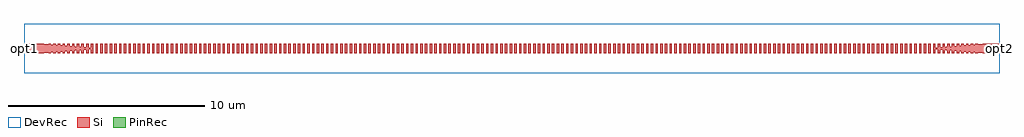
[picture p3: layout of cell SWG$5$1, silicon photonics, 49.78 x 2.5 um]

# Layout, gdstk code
import gdstk
lib = gdstk.Library(unit=1e-6, precision=1e-09)
def R(c, l, rs):  # rectangles x0, y0, x1, y1
    for r in rs: c.add(gdstk.rectangle(r[:2], r[2:], *l))
def P(c, l, *ps):  # polygons
    for p in ps: c.add(gdstk.Polygon(p, *l))
Si = (1, 0)
PinRec = (1, 10)
DevRec = (68, 0)

n2_grating_26_1_1 = lib.new_cell('n2$grating$26$1$1')
R(n2_grating_26_1_1, Si, [(8.64,-0.25,8.76,0.25)])

n2_grating_10_1_1 = lib.new_cell('n2$grating$10$1$1')
R(n2_grating_10_1_1, Si, [(4.8,-0.25,4.92,0.25)])

n1_grating_4_1_1 = lib.new_cell('n1$grating$4$1$1')
R(n1_grating_4_1_1, Si, [(0.96,-0.25,1.08,0.25)])

n2_grating_76_1_1 = lib.new_cell('n2$grating$76$1$1')
R(n2_grating_76_1_1, Si, [(20.64,-0.25,20.76,0.25)])

n2_grating_60_1_1 = lib.new_cell('n2$grating$60$1$1')
R(n2_grating_60_1_1, Si, [(16.8,-0.25,16.92,0.25)])

n2_grating_25_1_1 = lib.new_cell('n2$grating$25$1$1')
R(n2_grating_25_1_1, Si, [(8.4,-0.25,8.52,0.25)])

n2_grating_9_1_1 = lib.new_cell('n2$grating$9$1$1')
R(n2_grating_9_1_1, Si, [(4.56,-0.25,4.68,0.25)])

n1_grating_3_1_1 = lib.new_cell('n1$grating$3$1$1')
R(n1_grating_3_1_1, Si, [(0.72,-0.25,0.84,0.25)])

n2_grating_59_1_1 = lib.new_cell('n2$grating$59$1$1')
R(n2_grating_59_1_1, Si, [(16.56,-0.25,16.68,0.25)])

n2_grating_75_1_1 = lib.new_cell('n2$grating$75$1$1')
R(n2_grating_75_1_1, Si, [(20.4,-0.25,20.52,0.25)])

n2_grating_52_1_1 = lib.new_cell('n2$grating$52$1$1')
R(n2_grating_52_1_1, Si, [(14.88,-0.25,15,0.25)])

n2_grating_144_2 = lib.new_cell('n2$grating$144$2')
R(n2_grating_144_2, Si, [(36.96,-0.25,37.08,0.25)])

n2_grating_138_2 = lib.new_cell('n2$grating$138$2')
R(n2_grating_138_2, Si, [(35.52,-0.25,35.64,0.25)])

n2_grating_160_2 = lib.new_cell('n2$grating$160$2')
R(n2_grating_160_2, Si, [(40.8,-0.25,40.92,0.25)])

n2_grating_176_2 = lib.new_cell('n2$grating$176$2')
R(n2_grating_176_2, Si, [(44.64,-0.25,44.76,0.25)])

n2_grating_90_1_1 = lib.new_cell('n2$grating$90$1$1')
R(n2_grating_90_1_1, Si, [(24,-0.25,24.12,0.25)])

n2_grating_106_1_1 = lib.new_cell('n2$grating$106$1$1')
R(n2_grating_106_1_1, Si, [(27.84,-0.25,27.96,0.25)])

n2_grating_122_2 = lib.new_cell('n2$grating$122$2')
R(n2_grating_122_2, Si, [(31.68,-0.25,31.8,0.25)])

n2_grating_13_1_1 = lib.new_cell('n2$grating$13$1$1')
R(n2_grating_13_1_1, Si, [(5.52,-0.25,5.64,0.25)])

n2_grating_29_1_1 = lib.new_cell('n2$grating$29$1$1')
R(n2_grating_29_1_1, Si, [(9.36,-0.25,9.48,0.25)])

n1_grating_7_1_1 = lib.new_cell('n1$grating$7$1$1')
R(n1_grating_7_1_1, Si, [(1.68,-0.25,1.8,0.25)])

n2_grating_48_1_1 = lib.new_cell('n2$grating$48$1$1')
R(n2_grating_48_1_1, Si, [(13.92,-0.25,14.04,0.25)])

n2_grating_134_2 = lib.new_cell('n2$grating$134$2')
R(n2_grating_134_2, Si, [(34.56,-0.25,34.68,0.25)])

n2_grating_63_1_1 = lib.new_cell('n2$grating$63$1$1')
R(n2_grating_63_1_1, Si, [(17.52,-0.25,17.64,0.25)])

n2_grating_156_2 = lib.new_cell('n2$grating$156$2')
R(n2_grating_156_2, Si, [(39.84,-0.25,39.96,0.25)])

n2_grating_172_2 = lib.new_cell('n2$grating$172$2')
R(n2_grating_172_2, Si, [(43.68,-0.25,43.8,0.25)])

n2_grating_79_1_1 = lib.new_cell('n2$grating$79$1$1')
R(n2_grating_79_1_1, Si, [(21.36,-0.25,21.48,0.25)])

n1_grating_92_1_1 = lib.new_cell('n1$grating$92$1$1')
R(n1_grating_92_1_1, Si, [(47.28,-0.25,47.4,0.25)])

n2_grating_102_1_1 = lib.new_cell('n2$grating$102$1$1')
R(n2_grating_102_1_1, Si, [(26.88,-0.25,27,0.25)])

n2_grating_118_1_1 = lib.new_cell('n2$grating$118$1$1')
R(n2_grating_118_1_1, Si, [(30.72,-0.25,30.84,0.25)])

n2_grating_23_1_1 = lib.new_cell('n2$grating$23$1$1')
R(n2_grating_23_1_1, Si, [(7.92,-0.25,8.04,0.25)])

n2_grating_7_1_1 = lib.new_cell('n2$grating$7$1$1')
R(n2_grating_7_1_1, Si, [(4.08,-0.25,4.2,0.25)])

taper_1_1 = lib.new_cell('taper$1$1')
P(taper_1_1, Si, [(0,-0.25),(0,0.25),(2.52,0.05),(2.52,-0.05)])

n2_grating_57_1_1 = lib.new_cell('n2$grating$57$1$1')
R(n2_grating_57_1_1, Si, [(16.08,-0.25,16.2,0.25)])

n2_grating_73_1_1 = lib.new_cell('n2$grating$73$1$1')
R(n2_grating_73_1_1, Si, [(19.92,-0.25,20.04,0.25)])

n2_grating_89_1_1 = lib.new_cell('n2$grating$89$1$1')
R(n2_grating_89_1_1, Si, [(23.76,-0.25,23.88,0.25)])

n2_grating_46_1_1 = lib.new_cell('n2$grating$46$1$1')
R(n2_grating_46_1_1, Si, [(13.44,-0.25,13.56,0.25)])

n2_grating_170_2 = lib.new_cell('n2$grating$170$2')
R(n2_grating_170_2, Si, [(43.2,-0.25,43.32,0.25)])

n1_grating_72_1_1 = lib.new_cell('n1$grating$72$1$1')
R(n1_grating_72_1_1, Si, [(46.8,-0.25,46.92,0.25)])

n2_grating_154_2 = lib.new_cell('n2$grating$154$2')
R(n2_grating_154_2, Si, [(39.36,-0.25,39.48,0.25)])

n2_grating_132_2 = lib.new_cell('n2$grating$132$2')
R(n2_grating_132_2, Si, [(34.08,-0.25,34.2,0.25)])

n2_grating_100_1_1 = lib.new_cell('n2$grating$100$1$1')
R(n2_grating_100_1_1, Si, [(26.4,-0.25,26.52,0.25)])

n2_grating_116_1_1 = lib.new_cell('n2$grating$116$1$1')
R(n2_grating_116_1_1, Si, [(30.24,-0.25,30.36,0.25)])

n1_grating_6_1_1 = lib.new_cell('n1$grating$6$1$1')
R(n1_grating_6_1_1, Si, [(1.44,-0.25,1.56,0.25)])

n2_grating_28_1_1 = lib.new_cell('n2$grating$28$1$1')
R(n2_grating_28_1_1, Si, [(9.12,-0.25,9.24,0.25)])

n2_grating_12_1_1 = lib.new_cell('n2$grating$12$1$1')
R(n2_grating_12_1_1, Si, [(5.28,-0.25,5.4,0.25)])

n2_grating_41_1_1 = lib.new_cell('n2$grating$41$1$1')
R(n2_grating_41_1_1, Si, [(12.24,-0.25,12.36,0.25)])

n2_grating_62_1_1 = lib.new_cell('n2$grating$62$1$1')
R(n2_grating_62_1_1, Si, [(17.28,-0.25,17.4,0.25)])

n2_grating_78_1_1 = lib.new_cell('n2$grating$78$1$1')
R(n2_grating_78_1_1, Si, [(21.12,-0.25,21.24,0.25)])

n2_grating_165_2 = lib.new_cell('n2$grating$165$2')
R(n2_grating_165_2, Si, [(42,-0.25,42.12,0.25)])

n2_grating_149_2 = lib.new_cell('n2$grating$149$2')
R(n2_grating_149_2, Si, [(38.16,-0.25,38.28,0.25)])

n1_grating_22_1_1 = lib.new_cell('n1$grating$22$1$1')
R(n1_grating_22_1_1, Si, [(45.6,-0.25,45.72,0.25)])

n2_grating_95_1_1 = lib.new_cell('n2$grating$95$1$1')
R(n2_grating_95_1_1, Si, [(25.2,-0.25,25.32,0.25)])

n2_grating_111_1_1 = lib.new_cell('n2$grating$111$1$1')
R(n2_grating_111_1_1, Si, [(29.04,-0.25,29.16,0.25)])

n2_grating_127_2 = lib.new_cell('n2$grating$127$2')
R(n2_grating_127_2, Si, [(32.88,-0.25,33,0.25)])

n1_grating_8_1_1 = lib.new_cell('n1$grating$8$1$1')
R(n1_grating_8_1_1, Si, [(1.92,-0.25,2.04,0.25)])

n2_grating_30_1_1 = lib.new_cell('n2$grating$30$1$1')
R(n2_grating_30_1_1, Si, [(9.6,-0.25,9.72,0.25)])

n2_grating_14_1_1 = lib.new_cell('n2$grating$14$1$1')
R(n2_grating_14_1_1, Si, [(5.76,-0.25,5.88,0.25)])

n2_grating_80_1_1 = lib.new_cell('n2$grating$80$1$1')
R(n2_grating_80_1_1, Si, [(21.6,-0.25,21.72,0.25)])

n2_grating_64_1_1 = lib.new_cell('n2$grating$64$1$1')
R(n2_grating_64_1_1, Si, [(17.76,-0.25,17.88,0.25)])

n2_grating_47_1_1 = lib.new_cell('n2$grating$47$1$1')
R(n2_grating_47_1_1, Si, [(13.68,-0.25,13.8,0.25)])

n2_grating_133_2 = lib.new_cell('n2$grating$133$2')
R(n2_grating_133_2, Si, [(34.32,-0.25,34.44,0.25)])

n1_grating_82_1_1 = lib.new_cell('n1$grating$82$1$1')
R(n1_grating_82_1_1, Si, [(47.04,-0.25,47.16,0.25)])

n2_grating_171_2 = lib.new_cell('n2$grating$171$2')
R(n2_grating_171_2, Si, [(43.44,-0.25,43.56,0.25)])

n2_grating_155_2 = lib.new_cell('n2$grating$155$2')
R(n2_grating_155_2, Si, [(39.6,-0.25,39.72,0.25)])

n2_grating_101_1_1 = lib.new_cell('n2$grating$101$1$1')
R(n2_grating_101_1_1, Si, [(26.64,-0.25,26.76,0.25)])

n2_grating_117_1_1 = lib.new_cell('n2$grating$117$1$1')
R(n2_grating_117_1_1, Si, [(30.48,-0.25,30.6,0.25)])

n2_grating_20_1_1 = lib.new_cell('n2$grating$20$1$1')
R(n2_grating_20_1_1, Si, [(7.2,-0.25,7.32,0.25)])

n2_grating_4_1_1 = lib.new_cell('n2$grating$4$1$1')
R(n2_grating_4_1_1, Si, [(3.36,-0.25,3.48,0.25)])

n2_grating_36_1_1 = lib.new_cell('n2$grating$36$1$1')
R(n2_grating_36_1_1, Si, [(11.04,-0.25,11.16,0.25)])

n2_grating_70_1_1 = lib.new_cell('n2$grating$70$1$1')
R(n2_grating_70_1_1, Si, [(19.2,-0.25,19.32,0.25)])

n2_grating_49_1_1 = lib.new_cell('n2$grating$49$1$1')
R(n2_grating_49_1_1, Si, [(14.16,-0.25,14.28,0.25)])

n2_grating_86_1_1 = lib.new_cell('n2$grating$86$1$1')
R(n2_grating_86_1_1, Si, [(23.04,-0.25,23.16,0.25)])

n2_grating_135_2 = lib.new_cell('n2$grating$135$2')
R(n2_grating_135_2, Si, [(34.8,-0.25,34.92,0.25)])

n2_grating_157_2 = lib.new_cell('n2$grating$157$2')
R(n2_grating_157_2, Si, [(40.08,-0.25,40.2,0.25)])

n2_grating_173_2 = lib.new_cell('n2$grating$173$2')
R(n2_grating_173_2, Si, [(43.92,-0.25,44.04,0.25)])

n2_grating_141_2 = lib.new_cell('n2$grating$141$2')
R(n2_grating_141_2, Si, [(36.24,-0.25,36.36,0.25)])

n1_grating_102_1_1 = lib.new_cell('n1$grating$102$1$1')
R(n1_grating_102_1_1, Si, [(47.52,-0.25,47.64,0.25)])

n2_grating_103_1_1 = lib.new_cell('n2$grating$103$1$1')
R(n2_grating_103_1_1, Si, [(27.12,-0.25,27.24,0.25)])

n2_grating_119_2 = lib.new_cell('n2$grating$119$2')
R(n2_grating_119_2, Si, [(30.96,-0.25,31.08,0.25)])

n1_grating_9_1_1 = lib.new_cell('n1$grating$9$1$1')
R(n1_grating_9_1_1, Si, [(2.16,-0.25,2.28,0.25)])

n2_grating_31_1_1 = lib.new_cell('n2$grating$31$1$1')
R(n2_grating_31_1_1, Si, [(9.84,-0.25,9.96,0.25)])

n2_grating_15_1_1 = lib.new_cell('n2$grating$15$1$1')
R(n2_grating_15_1_1, Si, [(6,-0.25,6.12,0.25)])

n2_grating_54_1_1 = lib.new_cell('n2$grating$54$1$1')
R(n2_grating_54_1_1, Si, [(15.36,-0.25,15.48,0.25)])

n2_grating_38_1_1 = lib.new_cell('n2$grating$38$1$1')
R(n2_grating_38_1_1, Si, [(11.52,-0.25,11.64,0.25)])

n2_grating_81_1_1 = lib.new_cell('n2$grating$81$1$1')
R(n2_grating_81_1_1, Si, [(21.84,-0.25,21.96,0.25)])

n2_grating_108_1_1 = lib.new_cell('n2$grating$108$1$1')
R(n2_grating_108_1_1, Si, [(28.32,-0.25,28.44,0.25)])

n2_grating_162_2 = lib.new_cell('n2$grating$162$2')
R(n2_grating_162_2, Si, [(41.28,-0.25,41.4,0.25)])

n2_grating_146_2 = lib.new_cell('n2$grating$146$2')
R(n2_grating_146_2, Si, [(37.44,-0.25,37.56,0.25)])

n2_grating_65_1_1 = lib.new_cell('n2$grating$65$1$1')
R(n2_grating_65_1_1, Si, [(18,-0.25,18.12,0.25)])

n2_grating_178_2 = lib.new_cell('n2$grating$178$2')
R(n2_grating_178_2, Si, [(45.12,-0.25,45.24,0.25)])

n2_grating_92_1_1 = lib.new_cell('n2$grating$92$1$1')
R(n2_grating_92_1_1, Si, [(24.48,-0.25,24.6,0.25)])

n2_grating_124_2 = lib.new_cell('n2$grating$124$2')
R(n2_grating_124_2, Si, [(32.16,-0.25,32.28,0.25)])

n2_grating_5_1_1 = lib.new_cell('n2$grating$5$1$1')
R(n2_grating_5_1_1, Si, [(3.6,-0.25,3.72,0.25)])

n2_grating_37_1_1 = lib.new_cell('n2$grating$37$1$1')
R(n2_grating_37_1_1, Si, [(11.28,-0.25,11.4,0.25)])

n2_grating_21_1_1 = lib.new_cell('n2$grating$21$1$1')
R(n2_grating_21_1_1, Si, [(7.44,-0.25,7.56,0.25)])

n2_grating_40_1_1 = lib.new_cell('n2$grating$40$1$1')
R(n2_grating_40_1_1, Si, [(12,-0.25,12.12,0.25)])

n2_grating_148_2 = lib.new_cell('n2$grating$148$2')
R(n2_grating_148_2, Si, [(37.92,-0.25,38.04,0.25)])

n1_grating_12_1_1 = lib.new_cell('n1$grating$12$1$1')
R(n1_grating_12_1_1, Si, [(45.36,-0.25,45.48,0.25)])

n2_grating_71_1_1 = lib.new_cell('n2$grating$71$1$1')
R(n2_grating_71_1_1, Si, [(19.44,-0.25,19.56,0.25)])

n2_grating_164_2 = lib.new_cell('n2$grating$164$2')
R(n2_grating_164_2, Si, [(41.76,-0.25,41.88,0.25)])

n2_grating_87_1_1 = lib.new_cell('n2$grating$87$1$1')
R(n2_grating_87_1_1, Si, [(23.28,-0.25,23.4,0.25)])

n2_grating_126_2 = lib.new_cell('n2$grating$126$2')
R(n2_grating_126_2, Si, [(32.64,-0.25,32.76,0.25)])

n2_grating_94_1_1 = lib.new_cell('n2$grating$94$1$1')
R(n2_grating_94_1_1, Si, [(24.96,-0.25,25.08,0.25)])

n2_grating_110_1_1 = lib.new_cell('n2$grating$110$1$1')
R(n2_grating_110_1_1, Si, [(28.8,-0.25,28.92,0.25)])

n2_grating_55_1_1 = lib.new_cell('n2$grating$55$1$1')
R(n2_grating_55_1_1, Si, [(15.6,-0.25,15.72,0.25)])

n2_grating_17_1_1 = lib.new_cell('n2$grating$17$1$1')
R(n2_grating_17_1_1, Si, [(6.48,-0.25,6.6,0.25)])

n2_grating_1_1_1 = lib.new_cell('n2$grating$1$1$1')
R(n2_grating_1_1_1, Si, [(2.64,-0.25,2.76,0.25)])

n2_grating_33_1_1 = lib.new_cell('n2$grating$33$1$1')
R(n2_grating_33_1_1, Si, [(10.32,-0.25,10.44,0.25)])

n2_grating_44_1_1 = lib.new_cell('n2$grating$44$1$1')
R(n2_grating_44_1_1, Si, [(12.96,-0.25,13.08,0.25)])

n2_grating_83_1_1 = lib.new_cell('n2$grating$83$1$1')
R(n2_grating_83_1_1, Si, [(22.32,-0.25,22.44,0.25)])

n2_grating_152_2 = lib.new_cell('n2$grating$152$2')
R(n2_grating_152_2, Si, [(38.88,-0.25,39,0.25)])

n2_grating_67_1_1 = lib.new_cell('n2$grating$67$1$1')
R(n2_grating_67_1_1, Si, [(18.48,-0.25,18.6,0.25)])

n1_grating_52_1_1 = lib.new_cell('n1$grating$52$1$1')
R(n1_grating_52_1_1, Si, [(46.32,-0.25,46.44,0.25)])

n2_grating_168_2 = lib.new_cell('n2$grating$168$2')
R(n2_grating_168_2, Si, [(42.72,-0.25,42.84,0.25)])

n2_grating_98_1_1 = lib.new_cell('n2$grating$98$1$1')
R(n2_grating_98_1_1, Si, [(25.92,-0.25,26.04,0.25)])

n2_grating_114_1_1 = lib.new_cell('n2$grating$114$1$1')
R(n2_grating_114_1_1, Si, [(29.76,-0.25,29.88,0.25)])

n2_grating_130_2 = lib.new_cell('n2$grating$130$2')
R(n2_grating_130_2, Si, [(33.6,-0.25,33.72,0.25)])

n2_grating_105_1_1 = lib.new_cell('n2$grating$105$1$1')
R(n2_grating_105_1_1, Si, [(27.6,-0.25,27.72,0.25)])

n2_grating_137_2 = lib.new_cell('n2$grating$137$2')
R(n2_grating_137_2, Si, [(35.28,-0.25,35.4,0.25)])

n2_grating_143_2 = lib.new_cell('n2$grating$143$2')
R(n2_grating_143_2, Si, [(36.72,-0.25,36.84,0.25)])

n2_grating_159_2 = lib.new_cell('n2$grating$159$2')
R(n2_grating_159_2, Si, [(40.56,-0.25,40.68,0.25)])

n2_grating_51_1_1 = lib.new_cell('n2$grating$51$1$1')
R(n2_grating_51_1_1, Si, [(14.64,-0.25,14.76,0.25)])

n2_grating_121_2 = lib.new_cell('n2$grating$121$2')
R(n2_grating_121_2, Si, [(31.44,-0.25,31.56,0.25)])

n2_grating_175_2 = lib.new_cell('n2$grating$175$2')
R(n2_grating_175_2, Si, [(44.4,-0.25,44.52,0.25)])

n2_grating_140_2 = lib.new_cell('n2$grating$140$2')
R(n2_grating_140_2, Si, [(36,-0.25,36.12,0.25)])

n1_grating_2_1_1 = lib.new_cell('n1$grating$2$1$1')
R(n1_grating_2_1_1, Si, [(0.48,-0.25,0.6,0.25)])

n1_grating_1_1_1 = lib.new_cell('n1$grating$1$1$1')
R(n1_grating_1_1_1, Si, [(0.24,-0.25,0.36,0.25)])

n2_grating_24_1_1 = lib.new_cell('n2$grating$24$1$1')
R(n2_grating_24_1_1, Si, [(8.16,-0.25,8.28,0.25)])

n2_grating_8_1_1 = lib.new_cell('n2$grating$8$1$1')
R(n2_grating_8_1_1, Si, [(4.32,-0.25,4.44,0.25)])

n2_grating_131_2 = lib.new_cell('n2$grating$131$2')
R(n2_grating_131_2, Si, [(33.84,-0.25,33.96,0.25)])

n2_grating_153_2 = lib.new_cell('n2$grating$153$2')
R(n2_grating_153_2, Si, [(39.12,-0.25,39.24,0.25)])

n2_grating_74_1_1 = lib.new_cell('n2$grating$74$1$1')
R(n2_grating_74_1_1, Si, [(20.16,-0.25,20.28,0.25)])

n2_grating_169_2 = lib.new_cell('n2$grating$169$2')
R(n2_grating_169_2, Si, [(42.96,-0.25,43.08,0.25)])

n1_grating_62_1_1 = lib.new_cell('n1$grating$62$1$1')
R(n1_grating_62_1_1, Si, [(46.56,-0.25,46.68,0.25)])

n2_grating_58_1_1 = lib.new_cell('n2$grating$58$1$1')
R(n2_grating_58_1_1, Si, [(16.32,-0.25,16.44,0.25)])

n2_grating_115_1_1 = lib.new_cell('n2$grating$115$1$1')
R(n2_grating_115_1_1, Si, [(30,-0.25,30.12,0.25)])

n2_grating_99_1_1 = lib.new_cell('n2$grating$99$1$1')
R(n2_grating_99_1_1, Si, [(26.16,-0.25,26.28,0.25)])

n2_grating_45_1_1 = lib.new_cell('n2$grating$45$1$1')
R(n2_grating_45_1_1, Si, [(13.2,-0.25,13.32,0.25)])

n2_grating_11_1_1 = lib.new_cell('n2$grating$11$1$1')
R(n2_grating_11_1_1, Si, [(5.04,-0.25,5.16,0.25)])

n1_grating_5_1_1 = lib.new_cell('n1$grating$5$1$1')
R(n1_grating_5_1_1, Si, [(1.2,-0.25,1.32,0.25)])

n2_grating_27_1_1 = lib.new_cell('n2$grating$27$1$1')
R(n2_grating_27_1_1, Si, [(8.88,-0.25,9,0.25)])

n2_grating_77_1_1 = lib.new_cell('n2$grating$77$1$1')
R(n2_grating_77_1_1, Si, [(20.88,-0.25,21,0.25)])

n2_grating_166_2 = lib.new_cell('n2$grating$166$2')
R(n2_grating_166_2, Si, [(42.24,-0.25,42.36,0.25)])

n2_grating_150_2 = lib.new_cell('n2$grating$150$2')
R(n2_grating_150_2, Si, [(38.4,-0.25,38.52,0.25)])

n1_grating_32_1_1 = lib.new_cell('n1$grating$32$1$1')
R(n1_grating_32_1_1, Si, [(45.84,-0.25,45.96,0.25)])

n2_grating_112_1_1 = lib.new_cell('n2$grating$112$1$1')
R(n2_grating_112_1_1, Si, [(29.28,-0.25,29.4,0.25)])

n2_grating_128_2 = lib.new_cell('n2$grating$128$2')
R(n2_grating_128_2, Si, [(33.12,-0.25,33.24,0.25)])

n2_grating_61_1_1 = lib.new_cell('n2$grating$61$1$1')
R(n2_grating_61_1_1, Si, [(17.04,-0.25,17.16,0.25)])

n2_grating_96_1_1 = lib.new_cell('n2$grating$96$1$1')
R(n2_grating_96_1_1, Si, [(25.44,-0.25,25.56,0.25)])

n2_grating_42_1_1 = lib.new_cell('n2$grating$42$1$1')
R(n2_grating_42_1_1, Si, [(12.48,-0.25,12.6,0.25)])

n2_grating_2_1_1 = lib.new_cell('n2$grating$2$1$1')
R(n2_grating_2_1_1, Si, [(2.88,-0.25,3,0.25)])

n2_grating_34_1_1 = lib.new_cell('n2$grating$34$1$1')
R(n2_grating_34_1_1, Si, [(10.56,-0.25,10.68,0.25)])

n2_grating_18_1_1 = lib.new_cell('n2$grating$18$1$1')
R(n2_grating_18_1_1, Si, [(6.72,-0.25,6.84,0.25)])

n2_grating_43_1_1 = lib.new_cell('n2$grating$43$1$1')
R(n2_grating_43_1_1, Si, [(12.72,-0.25,12.84,0.25)])

n2_grating_97_1_1 = lib.new_cell('n2$grating$97$1$1')
R(n2_grating_97_1_1, Si, [(25.68,-0.25,25.8,0.25)])

n2_grating_167_2 = lib.new_cell('n2$grating$167$2')
R(n2_grating_167_2, Si, [(42.48,-0.25,42.6,0.25)])

n2_grating_129_2 = lib.new_cell('n2$grating$129$2')
R(n2_grating_129_2, Si, [(33.36,-0.25,33.48,0.25)])

n2_grating_151_2 = lib.new_cell('n2$grating$151$2')
R(n2_grating_151_2, Si, [(38.64,-0.25,38.76,0.25)])

n2_grating_84_1_1 = lib.new_cell('n2$grating$84$1$1')
R(n2_grating_84_1_1, Si, [(22.56,-0.25,22.68,0.25)])

n1_grating_42_1_1 = lib.new_cell('n1$grating$42$1$1')
R(n1_grating_42_1_1, Si, [(46.08,-0.25,46.2,0.25)])

n2_grating_113_1_1 = lib.new_cell('n2$grating$113$1$1')
R(n2_grating_113_1_1, Si, [(29.52,-0.25,29.64,0.25)])

n2_grating_68_1_1 = lib.new_cell('n2$grating$68$1$1')
R(n2_grating_68_1_1, Si, [(18.72,-0.25,18.84,0.25)])

n2_grating_32_1_1 = lib.new_cell('n2$grating$32$1$1')
R(n2_grating_32_1_1, Si, [(10.08,-0.25,10.2,0.25)])

n2_grating_16_1_1 = lib.new_cell('n2$grating$16$1$1')
R(n2_grating_16_1_1, Si, [(6.24,-0.25,6.36,0.25)])

n1_grating_10_1_1 = lib.new_cell('n1$grating$10$1$1')
R(n1_grating_10_1_1, Si, [(2.4,-0.25,2.52,0.25)])

n2_grating_139_2 = lib.new_cell('n2$grating$139$2')
R(n2_grating_139_2, Si, [(35.76,-0.25,35.88,0.25)])

n2_grating_145_2 = lib.new_cell('n2$grating$145$2')
R(n2_grating_145_2, Si, [(37.2,-0.25,37.32,0.25)])

n2_grating_161_2 = lib.new_cell('n2$grating$161$2')
R(n2_grating_161_2, Si, [(41.04,-0.25,41.16,0.25)])

n2_grating_53_1_1 = lib.new_cell('n2$grating$53$1$1')
R(n2_grating_53_1_1, Si, [(15.12,-0.25,15.24,0.25)])

n2_grating_177_2 = lib.new_cell('n2$grating$177$2')
R(n2_grating_177_2, Si, [(44.88,-0.25,45,0.25)])

n2_grating_123_2 = lib.new_cell('n2$grating$123$2')
R(n2_grating_123_2, Si, [(31.92,-0.25,32.04,0.25)])

n2_grating_91_1_1 = lib.new_cell('n2$grating$91$1$1')
R(n2_grating_91_1_1, Si, [(24.24,-0.25,24.36,0.25)])

n2_grating_107_1_1 = lib.new_cell('n2$grating$107$1$1')
R(n2_grating_107_1_1, Si, [(28.08,-0.25,28.2,0.25)])

n2_grating_66_1_1 = lib.new_cell('n2$grating$66$1$1')
R(n2_grating_66_1_1, Si, [(18.24,-0.25,18.36,0.25)])

n2_grating_82_1_1 = lib.new_cell('n2$grating$82$1$1')
R(n2_grating_82_1_1, Si, [(22.08,-0.25,22.2,0.25)])

n2_grating_22_1_1 = lib.new_cell('n2$grating$22$1$1')
R(n2_grating_22_1_1, Si, [(7.68,-0.25,7.8,0.25)])

n2_grating_6_1_1 = lib.new_cell('n2$grating$6$1$1')
R(n2_grating_6_1_1, Si, [(3.84,-0.25,3.96,0.25)])

input_1_1 = lib.new_cell('input$1$1')
R(input_1_1, Si, [(-1,-0.25,0,0.25)])

n2_grating_88_1_1 = lib.new_cell('n2$grating$88$1$1')
R(n2_grating_88_1_1, Si, [(23.52,-0.25,23.64,0.25)])

n2_grating_72_1_1 = lib.new_cell('n2$grating$72$1$1')
R(n2_grating_72_1_1, Si, [(19.68,-0.25,19.8,0.25)])

n2_grating_56_1_1 = lib.new_cell('n2$grating$56$1$1')
R(n2_grating_56_1_1, Si, [(15.84,-0.25,15.96,0.25)])

n2_grating_109_1_1 = lib.new_cell('n2$grating$109$1$1')
R(n2_grating_109_1_1, Si, [(28.56,-0.25,28.68,0.25)])

n2_grating_147_2 = lib.new_cell('n2$grating$147$2')
R(n2_grating_147_2, Si, [(37.68,-0.25,37.8,0.25)])

n2_grating_163_2 = lib.new_cell('n2$grating$163$2')
R(n2_grating_163_2, Si, [(41.52,-0.25,41.64,0.25)])

taper2_1_1 = lib.new_cell('taper2$1$1')
P(taper2_1_1, Si, [(47.88,-0.25),(45.36,-0.05),(45.36,0.05),(47.88,0.25)])

n2_grating_93_1_1 = lib.new_cell('n2$grating$93$1$1')
R(n2_grating_93_1_1, Si, [(24.72,-0.25,24.84,0.25)])

n2_grating_125_2 = lib.new_cell('n2$grating$125$2')
R(n2_grating_125_2, Si, [(32.4,-0.25,32.52,0.25)])

n2_grating_39_1_1 = lib.new_cell('n2$grating$39$1$1')
R(n2_grating_39_1_1, Si, [(11.76,-0.25,11.88,0.25)])

n2_grating_19_1_1 = lib.new_cell('n2$grating$19$1$1')
R(n2_grating_19_1_1, Si, [(6.96,-0.25,7.08,0.25)])

n2_grating_3_1_1 = lib.new_cell('n2$grating$3$1$1')
R(n2_grating_3_1_1, Si, [(3.12,-0.25,3.24,0.25)])

n2_grating_35_1_1 = lib.new_cell('n2$grating$35$1$1')
R(n2_grating_35_1_1, Si, [(10.8,-0.25,10.92,0.25)])

n2_grating_104_1_1 = lib.new_cell('n2$grating$104$1$1')
R(n2_grating_104_1_1, Si, [(27.36,-0.25,27.48,0.25)])

n2_grating_50_1_1 = lib.new_cell('n2$grating$50$1$1')
R(n2_grating_50_1_1, Si, [(14.4,-0.25,14.52,0.25)])

n2_grating_158_2 = lib.new_cell('n2$grating$158$2')
R(n2_grating_158_2, Si, [(40.32,-0.25,40.44,0.25)])

n2_grating_174_2 = lib.new_cell('n2$grating$174$2')
R(n2_grating_174_2, Si, [(44.16,-0.25,44.28,0.25)])

n2_grating_136_2 = lib.new_cell('n2$grating$136$2')
R(n2_grating_136_2, Si, [(35.04,-0.25,35.16,0.25)])

n2_grating_142_2 = lib.new_cell('n2$grating$142$2')
R(n2_grating_142_2, Si, [(36.48,-0.25,36.6,0.25)])

n2_grating_85_1_1 = lib.new_cell('n2$grating$85$1$1')
R(n2_grating_85_1_1, Si, [(22.8,-0.25,22.92,0.25)])

output_1_1 = lib.new_cell('Output$1$1')
R(output_1_1, Si, [(47.88,-0.25,48.76,0.25)])

n2_grating_120_2 = lib.new_cell('n2$grating$120$2')
R(n2_grating_120_2, Si, [(31.2,-0.25,31.32,0.25)])

n2_grating_69_1_1 = lib.new_cell('n2$grating$69$1$1')
R(n2_grating_69_1_1, Si, [(18.96,-0.25,19.08,0.25)])

swg_5_1 = lib.new_cell('SWG$5$1')
R(swg_5_1, DevRec, [(-1,-1.25,48.76,1.25)])
swg_5_1.add(gdstk.FlexPath([(48.75,0),(48.77,0)], 0.5, ends="flush", simple_path=True, layer=1, datatype=10))  # PinRec
swg_5_1.add(gdstk.FlexPath([(-0.99,0),(-1.01,0)], 0.5, ends="flush", simple_path=True, layer=1, datatype=10))  # PinRec
swg_5_1.add(gdstk.Reference(n2_grating_26_1_1, (0,0)))
swg_5_1.add(gdstk.Reference(n2_grating_10_1_1, (0,0)))
swg_5_1.add(gdstk.Reference(n1_grating_4_1_1, (0,0)))
swg_5_1.add(gdstk.Reference(n2_grating_76_1_1, (0,0)))
swg_5_1.add(gdstk.Reference(n2_grating_60_1_1, (0,0)))
swg_5_1.add(gdstk.Reference(n2_grating_25_1_1, (0,0)))
swg_5_1.add(gdstk.Reference(n2_grating_9_1_1, (0,0)))
swg_5_1.add(gdstk.Reference(n1_grating_3_1_1, (0,0)))
swg_5_1.add(gdstk.Reference(n2_grating_59_1_1, (0,0)))
swg_5_1.add(gdstk.Reference(n2_grating_75_1_1, (0,0)))
swg_5_1.add(gdstk.Reference(n2_grating_52_1_1, (0,0)))
swg_5_1.add(gdstk.Reference(n2_grating_144_2, (0,0)))
swg_5_1.add(gdstk.Reference(n2_grating_138_2, (0,0)))
swg_5_1.add(gdstk.Reference(n2_grating_160_2, (0,0)))
swg_5_1.add(gdstk.Reference(n2_grating_176_2, (0,0)))
swg_5_1.add(gdstk.Reference(n2_grating_90_1_1, (0,0)))
swg_5_1.add(gdstk.Reference(n2_grating_106_1_1, (0,0)))
swg_5_1.add(gdstk.Reference(n2_grating_122_2, (0,0)))
swg_5_1.add(gdstk.Reference(n2_grating_13_1_1, (0,0)))
swg_5_1.add(gdstk.Reference(n2_grating_29_1_1, (0,0)))
swg_5_1.add(gdstk.Reference(n1_grating_7_1_1, (0,0)))
swg_5_1.add(gdstk.Reference(n2_grating_48_1_1, (0,0)))
swg_5_1.add(gdstk.Reference(n2_grating_134_2, (0,0)))
swg_5_1.add(gdstk.Reference(n2_grating_63_1_1, (0,0)))
swg_5_1.add(gdstk.Reference(n2_grating_156_2, (0,0)))
swg_5_1.add(gdstk.Reference(n2_grating_172_2, (0,0)))
swg_5_1.add(gdstk.Reference(n2_grating_79_1_1, (0,0)))
swg_5_1.add(gdstk.Reference(n1_grating_92_1_1, (0,0)))
swg_5_1.add(gdstk.Reference(n2_grating_102_1_1, (0,0)))
swg_5_1.add(gdstk.Reference(n2_grating_118_1_1, (0,0)))
swg_5_1.add(gdstk.Reference(n2_grating_23_1_1, (0,0)))
swg_5_1.add(gdstk.Reference(n2_grating_7_1_1, (0,0)))
swg_5_1.add(gdstk.Reference(taper_1_1, (0,0)))
swg_5_1.add(gdstk.Reference(n2_grating_57_1_1, (0,0)))
swg_5_1.add(gdstk.Reference(n2_grating_73_1_1, (0,0)))
swg_5_1.add(gdstk.Reference(n2_grating_89_1_1, (0,0)))
swg_5_1.add(gdstk.Reference(n2_grating_46_1_1, (0,0)))
swg_5_1.add(gdstk.Reference(n2_grating_170_2, (0,0)))
swg_5_1.add(gdstk.Reference(n1_grating_72_1_1, (0,0)))
swg_5_1.add(gdstk.Reference(n2_grating_154_2, (0,0)))
swg_5_1.add(gdstk.Reference(n2_grating_132_2, (0,0)))
swg_5_1.add(gdstk.Reference(n2_grating_100_1_1, (0,0)))
swg_5_1.add(gdstk.Reference(n2_grating_116_1_1, (0,0)))
swg_5_1.add(gdstk.Reference(n1_grating_6_1_1, (0,0)))
swg_5_1.add(gdstk.Reference(n2_grating_28_1_1, (0,0)))
swg_5_1.add(gdstk.Reference(n2_grating_12_1_1, (0,0)))
swg_5_1.add(gdstk.Reference(n2_grating_41_1_1, (0,0)))
swg_5_1.add(gdstk.Reference(n2_grating_62_1_1, (0,0)))
swg_5_1.add(gdstk.Reference(n2_grating_78_1_1, (0,0)))
swg_5_1.add(gdstk.Reference(n2_grating_165_2, (0,0)))
swg_5_1.add(gdstk.Reference(n2_grating_149_2, (0,0)))
swg_5_1.add(gdstk.Reference(n1_grating_22_1_1, (0,0)))
swg_5_1.add(gdstk.Reference(n2_grating_95_1_1, (0,0)))
swg_5_1.add(gdstk.Reference(n2_grating_111_1_1, (0,0)))
swg_5_1.add(gdstk.Reference(n2_grating_127_2, (0,0)))
swg_5_1.add(gdstk.Reference(n1_grating_8_1_1, (0,0)))
swg_5_1.add(gdstk.Reference(n2_grating_30_1_1, (0,0)))
swg_5_1.add(gdstk.Reference(n2_grating_14_1_1, (0,0)))
swg_5_1.add(gdstk.Reference(n2_grating_80_1_1, (0,0)))
swg_5_1.add(gdstk.Reference(n2_grating_64_1_1, (0,0)))
swg_5_1.add(gdstk.Reference(n2_grating_47_1_1, (0,0)))
swg_5_1.add(gdstk.Reference(n2_grating_133_2, (0,0)))
swg_5_1.add(gdstk.Reference(n1_grating_82_1_1, (0,0)))
swg_5_1.add(gdstk.Reference(n2_grating_171_2, (0,0)))
swg_5_1.add(gdstk.Reference(n2_grating_155_2, (0,0)))
swg_5_1.add(gdstk.Reference(n2_grating_101_1_1, (0,0)))
swg_5_1.add(gdstk.Reference(n2_grating_117_1_1, (0,0)))
swg_5_1.add(gdstk.Reference(n2_grating_20_1_1, (0,0)))
swg_5_1.add(gdstk.Reference(n2_grating_4_1_1, (0,0)))
swg_5_1.add(gdstk.Reference(n2_grating_36_1_1, (0,0)))
swg_5_1.add(gdstk.Reference(n2_grating_70_1_1, (0,0)))
swg_5_1.add(gdstk.Reference(n2_grating_49_1_1, (0,0)))
swg_5_1.add(gdstk.Reference(n2_grating_86_1_1, (0,0)))
swg_5_1.add(gdstk.Reference(n2_grating_135_2, (0,0)))
swg_5_1.add(gdstk.Reference(n2_grating_157_2, (0,0)))
swg_5_1.add(gdstk.Reference(n2_grating_173_2, (0,0)))
swg_5_1.add(gdstk.Reference(n2_grating_141_2, (0,0)))
swg_5_1.add(gdstk.Reference(n1_grating_102_1_1, (0,0)))
swg_5_1.add(gdstk.Reference(n2_grating_103_1_1, (0,0)))
swg_5_1.add(gdstk.Reference(n2_grating_119_2, (0,0)))
swg_5_1.add(gdstk.Reference(n1_grating_9_1_1, (0,0)))
swg_5_1.add(gdstk.Reference(n2_grating_31_1_1, (0,0)))
swg_5_1.add(gdstk.Reference(n2_grating_15_1_1, (0,0)))
swg_5_1.add(gdstk.Reference(n2_grating_54_1_1, (0,0)))
swg_5_1.add(gdstk.Reference(n2_grating_38_1_1, (0,0)))
swg_5_1.add(gdstk.Reference(n2_grating_81_1_1, (0,0)))
swg_5_1.add(gdstk.Reference(n2_grating_108_1_1, (0,0)))
swg_5_1.add(gdstk.Reference(n2_grating_162_2, (0,0)))
swg_5_1.add(gdstk.Reference(n2_grating_146_2, (0,0)))
swg_5_1.add(gdstk.Reference(n2_grating_65_1_1, (0,0)))
swg_5_1.add(gdstk.Reference(n2_grating_178_2, (0,0)))
swg_5_1.add(gdstk.Reference(n2_grating_92_1_1, (0,0)))
swg_5_1.add(gdstk.Reference(n2_grating_124_2, (0,0)))
swg_5_1.add(gdstk.Reference(n2_grating_5_1_1, (0,0)))
swg_5_1.add(gdstk.Reference(n2_grating_37_1_1, (0,0)))
swg_5_1.add(gdstk.Reference(n2_grating_21_1_1, (0,0)))
swg_5_1.add(gdstk.Reference(n2_grating_40_1_1, (0,0)))
swg_5_1.add(gdstk.Reference(n2_grating_148_2, (0,0)))
swg_5_1.add(gdstk.Reference(n1_grating_12_1_1, (0,0)))
swg_5_1.add(gdstk.Reference(n2_grating_71_1_1, (0,0)))
swg_5_1.add(gdstk.Reference(n2_grating_164_2, (0,0)))
swg_5_1.add(gdstk.Reference(n2_grating_87_1_1, (0,0)))
swg_5_1.add(gdstk.Reference(n2_grating_126_2, (0,0)))
swg_5_1.add(gdstk.Reference(n2_grating_94_1_1, (0,0)))
swg_5_1.add(gdstk.Reference(n2_grating_110_1_1, (0,0)))
swg_5_1.add(gdstk.Reference(n2_grating_55_1_1, (0,0)))
swg_5_1.add(gdstk.Reference(n2_grating_17_1_1, (0,0)))
swg_5_1.add(gdstk.Reference(n2_grating_1_1_1, (0,0)))
swg_5_1.add(gdstk.Reference(n2_grating_33_1_1, (0,0)))
swg_5_1.add(gdstk.Reference(n2_grating_44_1_1, (0,0)))
swg_5_1.add(gdstk.Reference(n2_grating_83_1_1, (0,0)))
swg_5_1.add(gdstk.Reference(n2_grating_152_2, (0,0)))
swg_5_1.add(gdstk.Reference(n2_grating_67_1_1, (0,0)))
swg_5_1.add(gdstk.Reference(n1_grating_52_1_1, (0,0)))
swg_5_1.add(gdstk.Reference(n2_grating_168_2, (0,0)))
swg_5_1.add(gdstk.Reference(n2_grating_98_1_1, (0,0)))
swg_5_1.add(gdstk.Reference(n2_grating_114_1_1, (0,0)))
swg_5_1.add(gdstk.Reference(n2_grating_130_2, (0,0)))
swg_5_1.add(gdstk.Reference(n2_grating_105_1_1, (0,0)))
swg_5_1.add(gdstk.Reference(n2_grating_137_2, (0,0)))
swg_5_1.add(gdstk.Reference(n2_grating_143_2, (0,0)))
swg_5_1.add(gdstk.Reference(n2_grating_159_2, (0,0)))
swg_5_1.add(gdstk.Reference(n2_grating_51_1_1, (0,0)))
swg_5_1.add(gdstk.Reference(n2_grating_121_2, (0,0)))
swg_5_1.add(gdstk.Reference(n2_grating_175_2, (0,0)))
swg_5_1.add(gdstk.Reference(n2_grating_140_2, (0,0)))
swg_5_1.add(gdstk.Reference(n1_grating_2_1_1, (0,0)))
swg_5_1.add(gdstk.Reference(n1_grating_1_1_1, (0,0)))
swg_5_1.add(gdstk.Reference(n2_grating_24_1_1, (0,0)))
swg_5_1.add(gdstk.Reference(n2_grating_8_1_1, (0,0)))
swg_5_1.add(gdstk.Reference(n2_grating_131_2, (0,0)))
swg_5_1.add(gdstk.Reference(n2_grating_153_2, (0,0)))
swg_5_1.add(gdstk.Reference(n2_grating_74_1_1, (0,0)))
swg_5_1.add(gdstk.Reference(n2_grating_169_2, (0,0)))
swg_5_1.add(gdstk.Reference(n1_grating_62_1_1, (0,0)))
swg_5_1.add(gdstk.Reference(n2_grating_58_1_1, (0,0)))
swg_5_1.add(gdstk.Reference(n2_grating_115_1_1, (0,0)))
swg_5_1.add(gdstk.Reference(n2_grating_99_1_1, (0,0)))
swg_5_1.add(gdstk.Reference(n2_grating_45_1_1, (0,0)))
swg_5_1.add(gdstk.Reference(n2_grating_11_1_1, (0,0)))
swg_5_1.add(gdstk.Reference(n1_grating_5_1_1, (0,0)))
swg_5_1.add(gdstk.Reference(n2_grating_27_1_1, (0,0)))
swg_5_1.add(gdstk.Reference(n2_grating_77_1_1, (0,0)))
swg_5_1.add(gdstk.Reference(n2_grating_166_2, (0,0)))
swg_5_1.add(gdstk.Reference(n2_grating_150_2, (0,0)))
swg_5_1.add(gdstk.Reference(n1_grating_32_1_1, (0,0)))
swg_5_1.add(gdstk.Reference(n2_grating_112_1_1, (0,0)))
swg_5_1.add(gdstk.Reference(n2_grating_128_2, (0,0)))
swg_5_1.add(gdstk.Reference(n2_grating_61_1_1, (0,0)))
swg_5_1.add(gdstk.Reference(n2_grating_96_1_1, (0,0)))
swg_5_1.add(gdstk.Reference(n2_grating_42_1_1, (0,0)))
swg_5_1.add(gdstk.Reference(n2_grating_2_1_1, (0,0)))
swg_5_1.add(gdstk.Reference(n2_grating_34_1_1, (0,0)))
swg_5_1.add(gdstk.Reference(n2_grating_18_1_1, (0,0)))
swg_5_1.add(gdstk.Reference(n2_grating_43_1_1, (0,0)))
swg_5_1.add(gdstk.Reference(n2_grating_97_1_1, (0,0)))
swg_5_1.add(gdstk.Reference(n2_grating_167_2, (0,0)))
swg_5_1.add(gdstk.Reference(n2_grating_129_2, (0,0)))
swg_5_1.add(gdstk.Reference(n2_grating_151_2, (0,0)))
swg_5_1.add(gdstk.Reference(n2_grating_84_1_1, (0,0)))
swg_5_1.add(gdstk.Reference(n1_grating_42_1_1, (0,0)))
swg_5_1.add(gdstk.Reference(n2_grating_113_1_1, (0,0)))
swg_5_1.add(gdstk.Reference(n2_grating_68_1_1, (0,0)))
swg_5_1.add(gdstk.Reference(n2_grating_32_1_1, (0,0)))
swg_5_1.add(gdstk.Reference(n2_grating_16_1_1, (0,0)))
swg_5_1.add(gdstk.Reference(n1_grating_10_1_1, (0,0)))
swg_5_1.add(gdstk.Reference(n2_grating_139_2, (0,0)))
swg_5_1.add(gdstk.Reference(n2_grating_145_2, (0,0)))
swg_5_1.add(gdstk.Reference(n2_grating_161_2, (0,0)))
swg_5_1.add(gdstk.Reference(n2_grating_53_1_1, (0,0)))
swg_5_1.add(gdstk.Reference(n2_grating_177_2, (0,0)))
swg_5_1.add(gdstk.Reference(n2_grating_123_2, (0,0)))
swg_5_1.add(gdstk.Reference(n2_grating_91_1_1, (0,0)))
swg_5_1.add(gdstk.Reference(n2_grating_107_1_1, (0,0)))
swg_5_1.add(gdstk.Reference(n2_grating_66_1_1, (0,0)))
swg_5_1.add(gdstk.Reference(n2_grating_82_1_1, (0,0)))
swg_5_1.add(gdstk.Reference(n2_grating_22_1_1, (0,0)))
swg_5_1.add(gdstk.Reference(n2_grating_6_1_1, (0,0)))
swg_5_1.add(gdstk.Reference(input_1_1, (0,0)))
swg_5_1.add(gdstk.Reference(n2_grating_88_1_1, (0,0)))
swg_5_1.add(gdstk.Reference(n2_grating_72_1_1, (0,0)))
swg_5_1.add(gdstk.Reference(n2_grating_56_1_1, (0,0)))
swg_5_1.add(gdstk.Reference(n2_grating_109_1_1, (0,0)))
swg_5_1.add(gdstk.Reference(n2_grating_147_2, (0,0)))
swg_5_1.add(gdstk.Reference(n2_grating_163_2, (0,0)))
swg_5_1.add(gdstk.Reference(taper2_1_1, (0,0)))
swg_5_1.add(gdstk.Reference(n2_grating_93_1_1, (0,0)))
swg_5_1.add(gdstk.Reference(n2_grating_125_2, (0,0)))
swg_5_1.add(gdstk.Reference(n2_grating_39_1_1, (0,0)))
swg_5_1.add(gdstk.Reference(n2_grating_19_1_1, (0,0)))
swg_5_1.add(gdstk.Reference(n2_grating_3_1_1, (0,0)))
swg_5_1.add(gdstk.Reference(n2_grating_35_1_1, (0,0)))
swg_5_1.add(gdstk.Reference(n2_grating_104_1_1, (0,0)))
swg_5_1.add(gdstk.Reference(n2_grating_50_1_1, (0,0)))
swg_5_1.add(gdstk.Reference(n2_grating_158_2, (0,0)))
swg_5_1.add(gdstk.Reference(n2_grating_174_2, (0,0)))
swg_5_1.add(gdstk.Reference(n2_grating_136_2, (0,0)))
swg_5_1.add(gdstk.Reference(n2_grating_142_2, (0,0)))
swg_5_1.add(gdstk.Reference(n2_grating_85_1_1, (0,0)))
swg_5_1.add(gdstk.Reference(output_1_1, (0,0)))
swg_5_1.add(gdstk.Reference(n2_grating_120_2, (0,0)))
swg_5_1.add(gdstk.Reference(n2_grating_69_1_1, (0,0)))
swg_5_1.add(gdstk.Label('opt2', (48.76,0), layer=1, texttype=10))
swg_5_1.add(gdstk.Label('opt1', (-1,0), layer=1, texttype=10))

lib.write_gds('SWG_5_1.gds')
